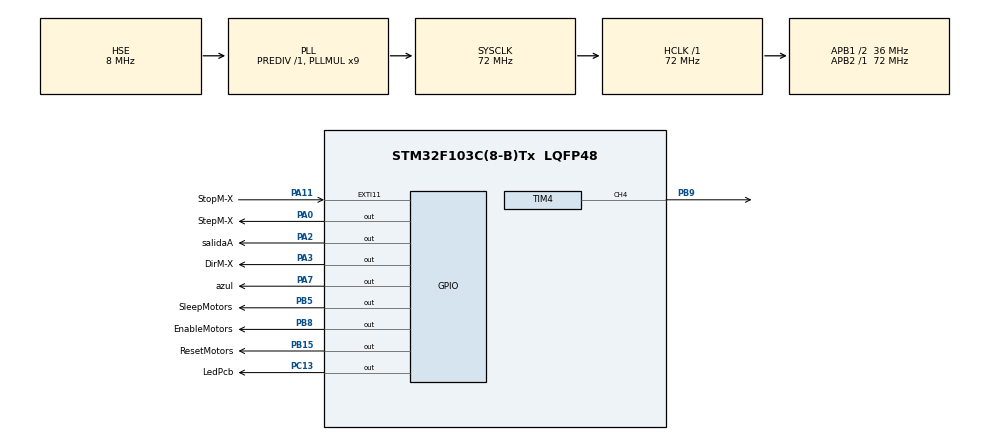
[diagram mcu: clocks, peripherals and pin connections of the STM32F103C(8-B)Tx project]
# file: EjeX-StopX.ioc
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Mcu.Family=STM32F1
Mcu.Name=STM32F103C(8-B)Tx
Mcu.Package=LQFP48
NVIC.EXTI15_10_IRQn=true\:0\:0\:false\:false\:true\:true\:true\:true
NVIC.PriorityGroup=NVIC_PRIORITYGROUP_4
NVIC.TIM2_IRQn=true\:0\:0\:false\:false\:true\:true\:true\:true
NVIC.TIM3_IRQn=true\:0\:0\:false\:false\:true\:true\:true\:true
PA0-WKUP.GPIO_Label=StepM-X
PA0-WKUP.Signal=GPIO_Output
PA11.GPIO_Label=StopM-X
PA11.GPIO_ModeDefaultEXTI=GPIO_MODE_IT_FALLING
PA11.Signal=GPXTI11
PA13.Mode=Serial_Wire
PA13.Signal=SYS_JTMS-SWDIO
PA14.Mode=Serial_Wire
PA14.Signal=SYS_JTCK-SWCLK
PA2.GPIO_Label=salidaA
PA2.Signal=GPIO_Output
PA3.GPIO_Label=DirM-X
PA3.Signal=GPIO_Output
PA7.GPIO_Label=azul
PA7.Signal=GPIO_Output
PB15.GPIO_Label=ResetMotors
PB15.Signal=GPIO_Output
PB5.GPIO_Label=SleepMotors
PB5.Signal=GPIO_Output
PB8.GPIO_Label=EnableMotors
PB8.Signal=GPIO_Output
PB9.Signal=S_TIM4_CH4
PC13-TAMPER-RTC.GPIO_Label=LedPcb
PC13-TAMPER-RTC.Signal=GPIO_Output
PC14-OSC32_IN.Mode=LSE-External-Oscillator
PC14-OSC32_IN.Signal=RCC_OSC32_IN
PC15-OSC32_OUT.Mode=LSE-External-Oscillator
PC15-OSC32_OUT.Signal=RCC_OSC32_OUT
PD0-OSC_IN.Mode=HSE-External-Oscillator
PD0-OSC_IN.Signal=RCC_OSC_IN
PD1-OSC_OUT.Mode=HSE-External-Oscillator
PD1-OSC_OUT.Signal=RCC_OSC_OUT
ProjectManager.HeapSize=0x200
ProjectManager.StackSize=0x400
ProjectManager.TargetToolchain=STM32CubeIDE
RCC.AHBFreq_Value=72000000
RCC.APB1CLKDivider=RCC_HCLK_DIV2
RCC.APB1Freq_Value=36000000
RCC.APB1TimFreq_Value=72000000
RCC.APB2Freq_Value=72000000
RCC.APB2TimFreq_Value=72000000
RCC.HCLKFreq_Value=72000000
RCC.PLLMUL=RCC_PLL_MUL9
RCC.PLLSourceVirtual=RCC_PLLSOURCE_HSE
RCC.SYSCLKFreq_VALUE=72000000
RCC.SYSCLKSource=RCC_SYSCLKSOURCE_PLLCLK
RCC.USBFreq_Value=72000000
SH.S_TIM4_CH4.0=TIM4_CH4,PWM Generation4 CH4
TIM2.AutoReloadPreload=TIM_AUTORELOAD_PRELOAD_ENABLE
TIM2.CounterMode=TIM_COUNTERMODE_CENTERALIGNED3
TIM2.Period=1000
TIM2.Prescaler=71
TIM3.Period=2000
TIM3.Prescaler=35999
TIM4.Channel-PWM\ Generation4\ CH4=TIM_CHANNEL_4
TIM4.Period=9999
TIM4.Prescaler=71
TIM4.Pulse-PWM\ Generation4\ CH4=5000
VP_TIM2_VS_ClockSourceINT.Mode=Internal
VP_TIM3_VS_ClockSourceINT.Mode=Internal
VP_TIM4_VS_ClockSourceINT.Mode=Internal
board=custom

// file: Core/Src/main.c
/* USER CODE BEGIN Header */
/**
  ******************************************************************************
  * @file           : main.c
  * @brief          : Main program body
  ******************************************************************************
  * @attention
  *
  * Copyright (c) 2023 STMicroelectronics.
  * All rights reserved.
  *
  * This software is licensed under terms that can be found in the LICENSE file
  * in the root directory of this software component.
  * If no LICENSE file comes with this software, it is provided AS-IS.
  *
  ******************************************************************************
  */
/* USER CODE END Header */
#include "main.h"
#include "tim.h"
#include "gpio.h"

/* USER CODE BEGIN Includes */

#include <math.h>

/* USER CODE END Includes */

/* USER CODE BEGIN PV */

//	Vel Motors
uint16_t velMotor_X = 0;
uint16_t velMotor_Y = 0;
uint16_t velMotor_Z = 0;

//	Dir Motors
uint8_t DirM_X = 0;
uint8_t DirM_Y = 0;
uint8_t DirM_Z = 0;

// Step Motors
float thetaMotor_X = 1;
float thetaMotor_Y = 1;
float thetaMotor_Z = 1;

//	FLAGS STOP GLOBALES
uint8_t flagStopM_X = 0;
uint8_t flagStopM_Y = 0;
uint8_t flagStopM_Z = 0;

//	FLAGS OPTICAL LIMIT SWITCH SENSOR PER AXIS GLOBALES
uint8_t opticalLimitSwitchSensor_X = 0;
uint8_t opticalLimitSwitchSensor_Y = 0;
uint8_t opticalLimitSwitchSensor_Z = 0;

///// Factor de microStepping
uint8_t microSteppingM_X = 1;
uint8_t microSteppingM_Y = 1;
uint8_t microSteppingM_Z = 1;

// uint32_t adcVal;					// Arreglo para guardar los valores leidos del conversor ADC
uint32_t contador = 0;

/* USER CODE END PV */

void SystemClock_Config(void);
/* USER CODE BEGIN PFP */

int HomingMotors(uint8_t* hmX, uint8_t* hmY, uint8_t* hmZ);
void ActivatedAll (void);
float deg2rad(float degrees);

//void moverMotor_eje(char eje, float *thetaTarget, uint16_t velocidadTarget);
void moverX(float target, uint16_t velocidad);

// extras
// void HAL_TIM_PeriodElapsedCallback(TIM_HandleTypeDef *htim);		// Función para el manejo de interrupciones del Timer 2
// void EXTI9_5_IRQHandler(void);		// Función para manejo de la interrupciones externas por fin de carrera
// void HAL_ADC_ConvCpltCallback(ADC_HandleTypeDef *hadc);

/* USER CODE END PFP */

int main(void)
{

  /* MCU Configuration--------------------------------------------------------*/

  /* Reset of all peripherals, Initializes the Flash interface and the Systick. */
  HAL_Init();

  /* Configure the system clock */
  SystemClock_Config();

  /* Initialize all configured peripherals */
  MX_GPIO_Init();

  MX_TIM2_Init();
  MX_TIM3_Init();
  MX_TIM4_Init();
  /* USER CODE BEGIN 2 */

  ///// Configurar los Buses Reset, Sleep y Enable
  HAL_GPIO_WritePin(ResetMotors_GPIO_Port, ResetMotors_Pin, SET);
  HAL_GPIO_WritePin(SleepMotors_GPIO_Port, SleepMotors_Pin, SET);
  HAL_GPIO_WritePin(EnableMotors_GPIO_Port, EnableMotors_Pin, SET);

  HAL_TIM_Base_Start_IT(&htim3);
  HAL_TIM_Base_Start_IT(&htim2);			// Iniciar el temporizador con interrupción

/*
  TIM2->ARR = 8000;
  TIM2->CCR1 = 7500;

  TIM4->ARR = 9999;
  TIM4->CCR4 = 5000;
*/

  HAL_TIM_PWM_Start(&htim4, TIM_CHANNEL_4);
  HAL_TIM_Base_Start_IT(&htim4);			// Iniciar el temporizador con interrupción

  ///// Flags de Homing
  uint8_t homeMotor_X = 0;
  uint8_t homeMotor_Y = 0;
  uint8_t homeMotor_Z = 0;
  int countHome = 0;

  ///// Thetas objetivos
  float thetaTargetMotor_X = 0;
  float thetaTargetMotor_Y = 0;
  float thetaTargetMotor_Z = 0;

  uint16_t velocidadTargetMotor_X = 0;

  /* USER CODE END 2 */

  /* Infinite loop */
  /* USER CODE BEGIN WHILE */
  while (1)
  {
	  // Caso de uso sin Motor Y
	  flagStopM_Y = 1;
	  thetaTargetMotor_Y = 0;
	  // Caso de uso sin Motor Z
	  flagStopM_Z = 1;
	  thetaTargetMotor_Z = 0;

	  //HAL_Delay(1000);
	  if (countHome == 0){
		  countHome = HomingMotors(&homeMotor_X, &homeMotor_Y, &homeMotor_Z);
		  HAL_Delay(700);
		  HAL_GPIO_WritePin(azul_GPIO_Port, azul_Pin, RESET);
	  }

	  // Movimiento consigna
	  thetaTargetMotor_X = 200.0;
	  velocidadTargetMotor_X = 5;
	  moverX(thetaTargetMotor_X, velocidadTargetMotor_X);
	  HAL_Delay(1000);
	  thetaTargetMotor_X = 50.0;
	  velocidadTargetMotor_X = 2;
	  moverX(thetaTargetMotor_X, velocidadTargetMotor_X);
	  HAL_Delay(1000);
	  thetaTargetMotor_X = 150.0;
	  velocidadTargetMotor_X = 10;
	  moverX(thetaTargetMotor_X, velocidadTargetMotor_X);
	  HAL_Delay(1000);
	  thetaTargetMotor_X = 0.0;
	  velocidadTargetMotor_X = 1;
	  moverX(thetaTargetMotor_X, velocidadTargetMotor_X);
	  HAL_Delay(1000);
	  /*
	  thetaTargetMotor_X = 100.0;
	  velocidadTargetMotor_X = 50;
	  moverX(thetaTargetMotor_X, velocidadTargetMotor_X);
	  HAL_Delay(1000);

	  /*
	  int miCcr = 0;  // Inicializamos el valor del CCR1 en 0
	  HAL_TIM_PWM_Start(&htim2, TIM_CHANNEL_1);  // Iniciamos la generación de PWM en el canal 1
	  HAL_TIM_PWM_Start(&htim4, TIM_CHANNEL_4);
	  for (int var = 0; var <= 100; var = var + 10)
	  {
	    miCcr = (10000 * var) / 100;
	    TIM4->CCR4 = miCcr;
	    TIM2->CCR1 = miCcr;
	    HAL_Delay(1000);
	  }
	    TIM4->CCR4 = 0;
	    TIM2->CCR1 = 0;
	  HAL_TIM_PWM_Stop(&htim2, TIM_CHANNEL_1);  // Detenemos la generación de PWM en el canal 1
	  HAL_TIM_PWM_Stop(&htim4, TIM_CHANNEL_4);
	  HAL_GPIO_TogglePin(DirM_X_GPIO_Port, DirM_X_Pin);
	  HAL_Delay(1000);
	  */

    /* USER CODE END WHILE */

  }
}

void SystemClock_Config(void)
{
  RCC_OscInitTypeDef RCC_OscInitStruct = {0};
  RCC_ClkInitTypeDef RCC_ClkInitStruct = {0};

  /** Initializes the RCC Oscillators according to the specified parameters
  * in the RCC_OscInitTypeDef structure.
  */
  RCC_OscInitStruct.OscillatorType = RCC_OSCILLATORTYPE_HSE;
  RCC_OscInitStruct.HSEState = RCC_HSE_ON;
  RCC_OscInitStruct.HSEPredivValue = RCC_HSE_PREDIV_DIV1;
  RCC_OscInitStruct.HSIState = RCC_HSI_ON;
  RCC_OscInitStruct.PLL.PLLState = RCC_PLL_ON;
  RCC_OscInitStruct.PLL.PLLSource = RCC_PLLSOURCE_HSE;
  RCC_OscInitStruct.PLL.PLLMUL = RCC_PLL_MUL9;
  if (HAL_RCC_OscConfig(&RCC_OscInitStruct) != HAL_OK)
  {
    Error_Handler();
  }

  /** Initializes the CPU, AHB and APB buses clocks
  */
  RCC_ClkInitStruct.ClockType = RCC_CLOCKTYPE_HCLK|RCC_CLOCKTYPE_SYSCLK
                              |RCC_CLOCKTYPE_PCLK1|RCC_CLOCKTYPE_PCLK2;
  RCC_ClkInitStruct.SYSCLKSource = RCC_SYSCLKSOURCE_PLLCLK;
  RCC_ClkInitStruct.AHBCLKDivider = RCC_SYSCLK_DIV1;
  RCC_ClkInitStruct.APB1CLKDivider = RCC_HCLK_DIV2;
  RCC_ClkInitStruct.APB2CLKDivider = RCC_HCLK_DIV1;

  if (HAL_RCC_ClockConfig(&RCC_ClkInitStruct, FLASH_LATENCY_2) != HAL_OK)
  {
    Error_Handler();
  }
}

/* USER CODE BEGIN 4 */

int HomingMotors(uint8_t* hmX, uint8_t* hmY, uint8_t* hmZ){

	ActivatedAll();

	velMotor_X = 100;
	velMotor_Y = 100;
	velMotor_Z = 100;

	while (*hmX == 0){
		*hmX = flagStopM_X;
	}
	while (*hmY == 0){
		*hmY = flagStopM_Y;
	}
	while (*hmZ == 0){
		*hmZ = flagStopM_Z;
	}
	velMotor_X = 0;
	velMotor_Y = 0;
	velMotor_Z = 0;
	thetaMotor_X = 0;
	thetaMotor_Y = 0;
	thetaMotor_Z = 0;

	moverX(2, 70);
	return 1;
}

void moverX(float target, uint16_t velocidad){
	while (thetaMotor_X != target){
		// llegar a objetico
		while (thetaMotor_X > target){
			DirM_X = 1;
			HAL_GPIO_WritePin(DirM_X_GPIO_Port, DirM_X_Pin, SET);
			velMotor_X = velocidad;
			// alcanzar el objetivo
		}
		while (thetaMotor_X < target){
			DirM_X = 0;
			HAL_GPIO_WritePin(DirM_X_GPIO_Port, DirM_X_Pin, RESET);
			velMotor_X = velocidad;
		}
		//*flagStop = 1;
		velMotor_X = 0;
	}
}
/*
void moverEje(char eje, float target, uint16_t velocidad) {
    float* thetaMotor;
    GPIO_TypeDef* dirPort;
    uint16_t dirPin;

    if (eje == 'x') {
        thetaMotor = &thetaMotor_X;
        dirPort = DirM_X_GPIO_Port;
        dirPin = DirM_X_Pin;
    } else if (eje == 'y') {
        thetaMotor = &thetaMotor_Y;
        dirPort = DirM_Y_GPIO_Port;
        dirPin = DirM_Y_Pin;
    } else if (eje == 'z') {
        thetaMotor = &thetaMotor_Z;
        dirPort = DirM_Z_GPIO_Port;
        dirPin = DirM_Z_Pin;
    } else {
        // Manejo de error en caso de que se proporcione un carácter no válido
        return;
    }

    while (*thetaMotor != target) {
        // Llegar al objetivo en el eje especificado
        if (*thetaMotor > target) {
            HAL_GPIO_WritePin(dirPort, dirPin, SET);
        } else if (*thetaMotor < target) {
            HAL_GPIO_WritePin(dirPort, dirPin, RESET);
        }

        velMotor_X = velocidad;  // Se actualiza la velocidad según el eje actual

        // Alcanzar el objetivo en el eje especificado

        velMotor_X = 0;  // Se detiene el motor en el eje actual
    }
}
*/
void ActivatedAll (void){
	  HAL_GPIO_WritePin(ResetMotors_GPIO_Port, ResetMotors_Pin, RESET);
	  HAL_GPIO_WritePin(SleepMotors_GPIO_Port, SleepMotors_Pin, RESET);
	  HAL_GPIO_WritePin(EnableMotors_GPIO_Port, EnableMotors_Pin, RESET);
}

float deg2rad(float degrees) {
  return degrees * (M_PI / 180.0);
}

// Función de retrollamada (callback) para la interrupción externa EXTI3
void HAL_GPIO_EXTI_Callback(uint16_t GPIO_Pin)
{
	if (GPIO_Pin == StopM_X_Pin){
		if (flagStopM_X == 1){
			flagStopM_X = 0;
		} else {
			velMotor_X = 0;
			flagStopM_X = 1;
		}
		HAL_GPIO_TogglePin(azul_GPIO_Port, azul_Pin);
	}
	/*
	 *
	if (GPIO_Pin == GPIO_PIN_9)
  // if (HAL_GPIO_ReadPin(StopM1_GPIO_Port, StopM1_Pin) == GPIO_PIN_RESET)
  {
    // Se detectó un flanco descendente en PA3, detener el motor
    HAL_TIM_PWM_Stop(&htim2, TIM_CHANNEL_1);  // Detener la generación de la señal PWM en el canal 1
    HAL_GPIO_WritePin(EnableMotor_GPIO_Port, EnableMotor_Pin, GPIO_PIN_SET);
  }
  else
  {
    // Se detectó un flanco ascendente en PA3, reanudar el motor
    HAL_TIM_PWM_Start(&htim2, TIM_CHANNEL_1);  // Iniciar la generación de la señal PWM en el canal 1
    HAL_GPIO_WritePin(EnableMotor_GPIO_Port, EnableMotor_Pin, GPIO_PIN_RESET);
  }

	*/
  HAL_GPIO_EXTI_IRQHandler(StopM_X_Pin);  // Limpiar la bandera de interrupción EXTI3
}

/*
// Función para el callback del conversor ADC
void HAL_ADC_ConvCpltCallback(ADC_HandleTypeDef *hadc)
{
	TIM2->CCR2 = adcVal;
}
*/

// Función de retrollamada (callback) para la interrupción de desbordamiento del temporizador TIM2
void HAL_TIM_PeriodElapsedCallback(TIM_HandleTypeDef *htim)
{
  if (htim->Instance == TIM2)  // Verificar si la interrupción es del temporizador TIM2
  {
	  contador++;
	  if ((velMotor_X > 0) && (contador % velMotor_X == 0))
	  {
		  if (flagStopM_X == 0){
			  HAL_GPIO_WritePin(StepM_X_GPIO_Port, StepM_X_Pin, SET);
			  if (DirM_X == 0){
				  thetaMotor_X = (thetaMotor_X + 1) / microSteppingM_X;
			  } else {
				  thetaMotor_X = (thetaMotor_X - 1) / microSteppingM_X;
			  }
		  }
		  contador = 0;
		  HAL_GPIO_WritePin(StepM_X_GPIO_Port, StepM_X_Pin, RESET);
	  }
	  else
	  {
		  //
	  }
  }
  if (htim->Instance == TIM3)  // Verificar si la interrupción es del temporizador TIM3
  {
	  HAL_GPIO_TogglePin(LedPcb_GPIO_Port, LedPcb_Pin);		// Cambia el estado del led PC13 cada vez que salta la interrupción
  }
}

/* USER CODE END 4 */

void Error_Handler(void)
{
  __disable_irq();
  while (1)
  {
  }
}
